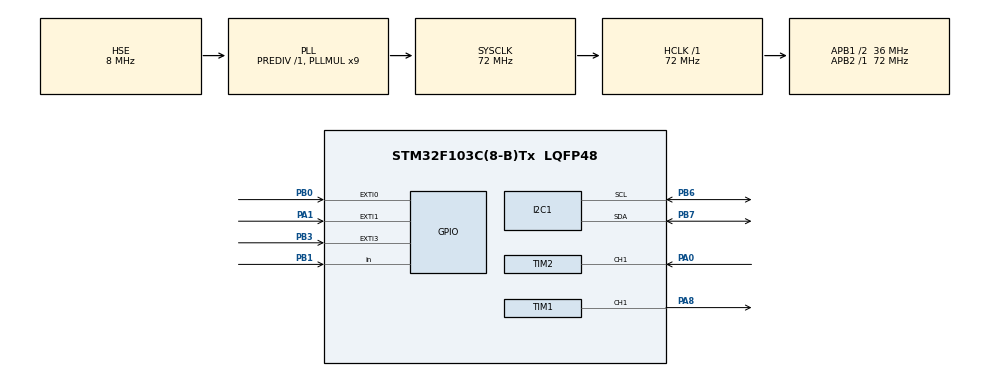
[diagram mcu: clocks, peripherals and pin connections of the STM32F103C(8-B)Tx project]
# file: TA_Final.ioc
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Mcu.Family=STM32F1
Mcu.Name=STM32F103C(8-B)Tx
Mcu.Package=LQFP48
NVIC.EXTI0_IRQn=true\:0\:0\:false\:false\:true\:true\:true\:true
NVIC.EXTI1_IRQn=true\:0\:0\:false\:false\:true\:true\:true\:true
NVIC.EXTI3_IRQn=true\:0\:0\:false\:false\:true\:true\:true\:true
NVIC.PriorityGroup=NVIC_PRIORITYGROUP_4
NVIC.TIM2_IRQn=true\:0\:0\:false\:false\:true\:true\:true\:true
PA0-WKUP.Signal=S_TIM2_CH1_ETR
PA1.GPIO_PuPd=GPIO_PULLUP
PA1.Signal=GPXTI1
PA13.Mode=Serial_Wire
PA13.Signal=SYS_JTMS-SWDIO
PA14.Mode=Serial_Wire
PA14.Signal=SYS_JTCK-SWCLK
PA8.Signal=S_TIM1_CH1
PB0.GPIO_ModeDefaultEXTI=GPIO_MODE_IT_RISING
PB0.GPIO_PuPd=GPIO_PULLUP
PB0.Signal=GPXTI0
PB1.GPIO_PuPd=GPIO_NOPULL
PB1.Signal=GPIO_Input
PB3.GPIO_ModeDefaultEXTI=GPIO_MODE_IT_FALLING
PB3.GPIO_PuPd=GPIO_PULLUP
PB3.Signal=GPXTI3
PB6.Mode=I2C
PB6.Signal=I2C1_SCL
PB7.Mode=I2C
PB7.Signal=I2C1_SDA
PD0-OSC_IN.Mode=HSE-External-Oscillator
PD0-OSC_IN.Signal=RCC_OSC_IN
PD1-OSC_OUT.Mode=HSE-External-Oscillator
PD1-OSC_OUT.Signal=RCC_OSC_OUT
ProjectManager.HeapSize=0x200
ProjectManager.StackSize=0x400
ProjectManager.TargetToolchain=STM32CubeIDE
RCC.AHBFreq_Value=72000000
RCC.APB1CLKDivider=RCC_HCLK_DIV2
RCC.APB1Freq_Value=36000000
RCC.APB1TimFreq_Value=72000000
RCC.APB2Freq_Value=72000000
RCC.APB2TimFreq_Value=72000000
RCC.HCLKFreq_Value=72000000
RCC.PLLMUL=RCC_PLL_MUL9
RCC.PLLSourceVirtual=RCC_PLLSOURCE_HSE
RCC.SYSCLKFreq_VALUE=72000000
RCC.SYSCLKSource=RCC_SYSCLKSOURCE_PLLCLK
RCC.USBFreq_Value=72000000
SH.S_TIM1_CH1.0=TIM1_CH1,PWM Generation1 CH1
SH.S_TIM2_CH1_ETR.0=TIM2_CH1,Input_Capture1_from_TI1
TIM1.Channel-PWM\ Generation1\ CH1=TIM_CHANNEL_1
TIM1.Period=25-1
TIM1.Prescaler=72-1
TIM2.Channel-Input_Capture1_from_TI1=TIM_CHANNEL_1
VP_TIM1_VS_ClockSourceINT.Mode=Internal
VP_TIM2_VS_ClockSourceINT.Mode=Internal
board=custom

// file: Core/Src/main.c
/* USER CODE BEGIN Header */
/**
  ******************************************************************************
  * @file           : main.c
  * @brief          : Main program body - Conveyor PI Controller
  ******************************************************************************
  * @attention
  *
  * Copyright (c) 2025 STMicroelectronics.
  * All rights reserved.
  *
  * This software is licensed under terms that can be found in the LICENSE file
  * in the root directory of this software component.
  * If no LICENSE file comes with this software, it is provided AS-IS.
  *
  ******************************************************************************
  */
/* USER CODE END Header */
#include "main.h"
#include "i2c.h"
#include "tim.h"
#include "gpio.h"

/* USER CODE BEGIN Includes */
#include "string.h"
#include "stdio.h"
#include "i2c-lcd.h"
#include "rotary_encoder.h"
#include "speed_sensor.h"
#include "pi_controller.h"
/* USER CODE END Includes */

/* USER CODE BEGIN PD */
#define TARGET_RPM 100.0f
#define CONTROL_PERIOD_MS 100
#define PWM_MAX_VALUE 24  // TIM1 period is 25-1, so max CCR value is 24

// PI Controller tuning parameters - adjust these for optimal performance
#define KP_GAIN 0.8f      // Proportional gain
#define KI_GAIN 0.3f      // Integral gain
/* USER CODE END PD */

/* USER CODE BEGIN PV */
PI_Controller motor_pi;
float current_rpm = 0.0f;
float duty_cycle = 0.0f;
uint32_t last_control_time = 0;
uint32_t last_display_time = 0;
char lcd_buffer[20];

// System status
typedef enum {
    SYSTEM_INIT,
    SYSTEM_RUNNING,
    SYSTEM_STOPPED
} SystemState;

SystemState system_state = SYSTEM_INIT;
/* USER CODE END PV */

void SystemClock_Config(void);
/* USER CODE BEGIN PFP */
void UpdateDisplay(void);
void HandleRotaryEncoder(void);
void MotorControl_Update(void);
/* USER CODE END PFP */

int main(void)
{

  /* MCU Configuration--------------------------------------------------------*/

  /* Reset of all peripherals, Initializes the Flash interface and the Systick. */
  HAL_Init();

  /* Configure the system clock */
  SystemClock_Config();

  /* Initialize all configured peripherals */
  MX_GPIO_Init();
  MX_I2C1_Init();
  MX_TIM1_Init();
  MX_TIM2_Init();
  /* USER CODE BEGIN 2 */

  // Initialize LCD
  lcd_init();
  HAL_Delay(100);

  // Display startup message
  lcd_clear();
  lcd_put_cur(0, 0);
  lcd_send_string("Conveyor PI Ctrl");
  lcd_put_cur(1, 0);
  lcd_send_string("Initializing...");
  HAL_Delay(2000);

  // Initialize rotary encoder
  RotaryEncoder_Init(GPIOB, GPIO_PIN_0, GPIOB, GPIO_PIN_1, GPIOB, GPIO_PIN_3);

  // Initialize speed sensor
  SpeedSensor_Init();

  // Initialize PI controller
  PI_Controller_Init(&motor_pi, KP_GAIN, KI_GAIN, TARGET_RPM);

  // Start PWM and timer
  HAL_TIM_Base_Start(&htim1);
  HAL_TIM_PWM_Start(&htim1, TIM_CHANNEL_1);
  HAL_TIM_Base_Start(&htim2);
  HAL_TIM_IC_Start_IT(&htim2, TIM_CHANNEL_1);

  // Initialize timing
  last_control_time = HAL_GetTick();
  last_display_time = HAL_GetTick();

  // Set initial PWM to 0
  TIM1->CCR1 = 0;

  system_state = SYSTEM_RUNNING;

  lcd_clear();
  /* USER CODE END 2 */

  /* Infinite loop */
  /* USER CODE BEGIN WHILE */
  while (1)
  {
    uint32_t current_time = HAL_GetTick();

    // Update rotary encoder
    RotaryEncoder_Update();
    HandleRotaryEncoder();

    // Run control loop every 100ms
    if ((current_time - last_control_time) >= CONTROL_PERIOD_MS) {
      MotorControl_Update();
      last_control_time = current_time;
    }

    // Update display every 500ms
    if ((current_time - last_display_time) >= 500) {
      UpdateDisplay();
      last_display_time = current_time;
    }

    /* USER CODE END WHILE */

  }
}

/* USER CODE BEGIN 4 */

void MotorControl_Update(void) {
  // Update speed sensor
  SpeedSensor_Update();
  current_rpm = SpeedSensor_GetRPM();

  // Run PI controller
  duty_cycle = PI_Controller_Update(&motor_pi, current_rpm);

  // Convert duty cycle percentage to timer compare value
  uint32_t ccr_value = (uint32_t)((duty_cycle / 100.0f) * PWM_MAX_VALUE);

  // Limit CCR value
  if (ccr_value > PWM_MAX_VALUE) {
    ccr_value = PWM_MAX_VALUE;
  }

  // Apply to motor
  TIM1->CCR1 = ccr_value;
}

void UpdateDisplay(void) {
  // Line 1: Current RPM and Setpoint
  lcd_put_cur(0, 0);
  snprintf(lcd_buffer, sizeof(lcd_buffer), "RPM:%3.0f SP:%3.0f", current_rpm, motor_pi.setpoint);
  lcd_send_string(lcd_buffer);

  // Line 2: Duty cycle and system status
  lcd_put_cur(1, 0);
  if (system_state == SYSTEM_RUNNING) {
    snprintf(lcd_buffer, sizeof(lcd_buffer), "PWM:%2.0f%% RUNNING", duty_cycle);
  } else {
    snprintf(lcd_buffer, sizeof(lcd_buffer), "PWM:%2.0f%% STOPPED", duty_cycle);
  }
  lcd_send_string(lcd_buffer);
}

void HandleRotaryEncoder(void) {
  static int16_t last_position = 0;
  static uint32_t last_button_time = 0;

  int16_t current_position = RotaryEncoder_GetPosition();
  uint32_t current_time = HAL_GetTick();

  // Handle rotation for setpoint adjustment
  int16_t position_change = current_position - last_position;
  if (position_change != 0) {
    float new_setpoint = motor_pi.setpoint + (position_change * 5.0f); // 5 RPM per click

    // Limit setpoint range
    if (new_setpoint < 0.0f) new_setpoint = 0.0f;
    if (new_setpoint > 300.0f) new_setpoint = 300.0f;

    PI_Controller_SetSetpoint(&motor_pi, new_setpoint);
    last_position = current_position;
  }

  // Handle button press for start/stop
  if (RotaryEncoder_IsPressed() && (current_time - last_button_time) > 500) {
    if (system_state == SYSTEM_RUNNING) {
      system_state = SYSTEM_STOPPED;
      TIM1->CCR1 = 0;  // Stop motor
      PI_Controller_Reset(&motor_pi);  // Reset controller
    } else {
      system_state = SYSTEM_RUNNING;
    }
    last_button_time = current_time;
  }
}

/* USER CODE END 4 */

void SystemClock_Config(void)
{
  RCC_OscInitTypeDef RCC_OscInitStruct = {0};
  RCC_ClkInitTypeDef RCC_ClkInitStruct = {0};

  /** Initializes the RCC Oscillators according to the specified parameters
  * in the RCC_OscInitTypeDef structure.
  */
  RCC_OscInitStruct.OscillatorType = RCC_OSCILLATORTYPE_HSE;
  RCC_OscInitStruct.HSEState = RCC_HSE_ON;
  RCC_OscInitStruct.HSEPredivValue = RCC_HSE_PREDIV_DIV1;
  RCC_OscInitStruct.HSIState = RCC_HSI_ON;
  RCC_OscInitStruct.PLL.PLLState = RCC_PLL_ON;
  RCC_OscInitStruct.PLL.PLLSource = RCC_PLLSOURCE_HSE;
  RCC_OscInitStruct.PLL.PLLMUL = RCC_PLL_MUL9;
  if (HAL_RCC_OscConfig(&RCC_OscInitStruct) != HAL_OK)
  {
    Error_Handler();
  }

  /** Initializes the CPU, AHB and APB buses clocks
  */
  RCC_ClkInitStruct.ClockType = RCC_CLOCKTYPE_HCLK|RCC_CLOCKTYPE_SYSCLK
                              |RCC_CLOCKTYPE_PCLK1|RCC_CLOCKTYPE_PCLK2;
  RCC_ClkInitStruct.SYSCLKSource = RCC_SYSCLKSOURCE_PLLCLK;
  RCC_ClkInitStruct.AHBCLKDivider = RCC_SYSCLK_DIV1;
  RCC_ClkInitStruct.APB1CLKDivider = RCC_HCLK_DIV2;
  RCC_ClkInitStruct.APB2CLKDivider = RCC_HCLK_DIV1;

  if (HAL_RCC_ClockConfig(&RCC_ClkInitStruct, FLASH_LATENCY_2) != HAL_OK)
  {
    Error_Handler();
  }
}

void Error_Handler(void)
{
  __disable_irq();
  while (1)
  {
  }
}
